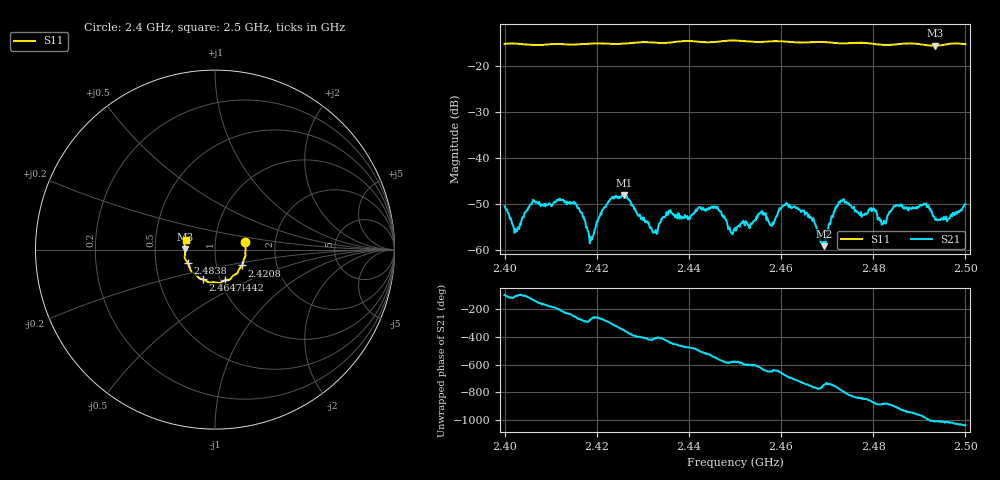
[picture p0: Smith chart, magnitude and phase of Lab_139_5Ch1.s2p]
# Hz S RI R 50
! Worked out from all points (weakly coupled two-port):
!   601 points, 2.4 GHz to 2.5 GHz, reference 50 ohm
!   highest |S21| = -48.10 dB at 2.4258 GHz (marker M1); lowest = -59.2 dB at 2.4693 GHz (marker M2)
!   lowest |S11| = -15.6 dB at 2.4935 GHz (marker M3), VSWR 1.40, Z = 35.8 + j0.193 ohm
!   |S11| at or under -10 dB: start of sweep to end of sweep
!   S12 and S22 are empty: the file has one direction only
!   S11 on the Smith chart (normalised r, x): 2.4 GHz: 1.40, +0.12; 2.4208 GHz: 1.33, -0.24; 2.4442 GHz: 1.05, -0.37; 2.4647 GHz: 0.83, -0.29; 2.4838 GHz: 0.73, -0.11; 2.5 GHz: 0.71, +0.08
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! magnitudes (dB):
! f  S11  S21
! 2.4 GHz  -15.2  -50.5
! 2.4027 GHz  -15.2  -56.0
! 2.4065 GHz  -15.4  -49.4
! 2.4167 GHz  -15.3  -52.0
! 2.4188 GHz  -15.1  -57.8
! 2.4208 GHz  -15.1  -52.0
! 2.4258 GHz  -15.2  -48.1
! 2.4333 GHz  -15.0  -55.1
! 2.4442 GHz  -14.9  -51.2
! 2.45 GHz  -14.5  -55.2
! 2.4557 GHz  -14.8  -51.8
! 2.458 GHz  -14.7  -54.8
! 2.461 GHz  -14.7  -50.2
! 2.4647 GHz  -14.9  -51.4
! 2.4667 GHz  -14.8  -53.1
! 2.4693 GHz  -14.8  -59.2
! 2.4732 GHz  -15.1  -49.4
! 2.4833 GHz  -15.5  -52.3
! 2.4838 GHz  -15.4  -51.5
! 2.491 GHz  -15.4  -49.9
! 2.4935 GHz  -15.6  -53.4
! 2.5 GHz  -15.3  -50.0
